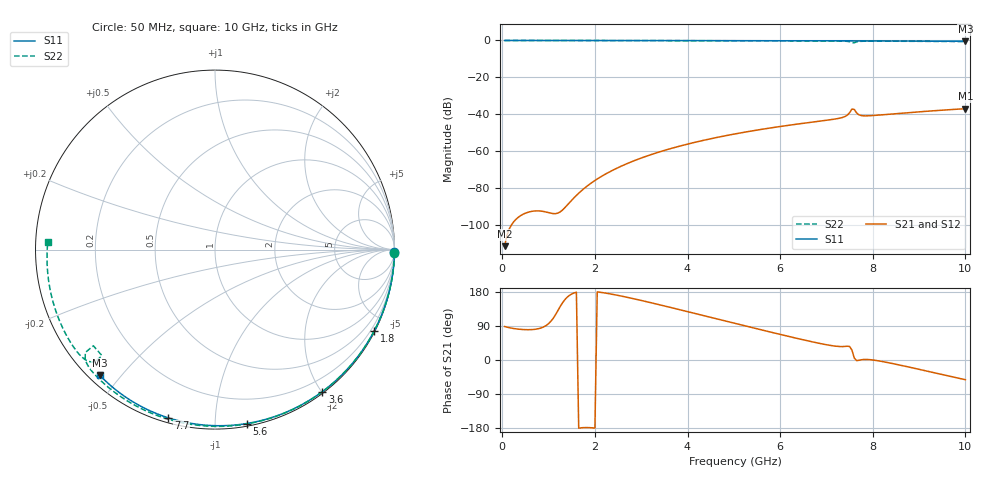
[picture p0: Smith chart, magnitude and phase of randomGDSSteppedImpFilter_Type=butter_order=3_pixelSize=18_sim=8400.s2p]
! freq	dB(S11)	phase(S11)	dB(S12)	phase(S12)
!  dB(S21)	phase(S21)	dB(S22)	phase(S22)
!S-par simulation data
#  GHz  S  DB  R 50
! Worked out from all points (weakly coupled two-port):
!   200 points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, 50 MHz to 10 GHz, reference 50 ohm
!   highest |S21| = -37.07 dB at 10 GHz (marker M1); lowest = -111.8 dB at 50 MHz (marker M2)
!   lowest |S11| = -0.4 dB at 10 GHz (marker M3), VSWR 38.93, Z = 1.53 - j22 ohm
!   |S11| at or under -10 dB: nowhere
!   |S22| runs from -1.3 to 0.0 dB; largest |S21 - S12| = 0
!   S11 on the Smith chart (normalised r, x): 50 MHz: open; 1.8 GHz: 0.04, -4.16; 3.6 GHz: 0.02, -2.01; 5.6 GHz: 0.02, -1.20; 7.7 GHz: 0.02, -0.76; 10 GHz: 0.03, -0.44
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0.05  -0.00 -0.8  -111.75 88.3  -111.75 88.3  -0.00 -1.0
0.85  -0.01 -12.9  -92.74 85.1  -92.74 85.1  -0.02 -17.3
1.75  -0.03 -26.3  -80.76 -178.5  -80.76 -178.5  -0.04 -35.2
1.8  -0.03 -27.0  -79.74 -178.3  -79.74 -178.3  -0.05 -36.2
2.1  -0.04 -31.4  -74.48 179.0  -74.48 179.0  -0.05 -42.1
2.45  -0.05 -36.5  -69.68 171.7  -69.68 171.7  -0.06 -48.8
2.9  -0.06 -43.0  -64.81 160.0  -64.81 160.0  -0.07 -57.4
3.4  -0.07 -50.1  -60.49 145.6  -60.49 145.6  -0.09 -66.8
3.6  -0.07 -52.9  -58.99 139.7  -58.99 139.7  -0.09 -70.5
4.3  -0.09 -62.5  -54.51 118.6  -54.51 118.6  -0.12 -83.1
5.05  -0.11 -72.5  -50.65 95.9  -50.65 95.9  -0.15 -96.3
5.6  -0.13 -79.6  -48.28 79.4  -48.28 79.4  -0.18 -105.9
6.7  -0.18 -93.5  -44.33 47.7  -44.33 47.7  -0.25 -124.8
7.35  -0.22 -101.4  -41.80 35.4  -41.80 35.4  -0.35 -137.1
7.45  -0.22 -102.6  -40.59 36.3  -40.59 36.3  -0.48 -139.8
7.55  -0.23 -103.7  -37.30 26.1  -37.30 26.1  -1.27 -141.7
7.6  -0.23 -104.3  -37.46 5.5  -37.46 5.5  -1.27 -136.8
7.7  -0.24 -105.5  -40.36 -0.8  -40.36 -0.8  -0.53 -138.5
7.85  -0.25 -107.3  -40.97 1.5  -40.97 1.5  -0.40 -142.3
8.35  -0.29 -113.2  -40.08 -7.4  -40.08 -7.4  -0.40 -151.9
9.2  -0.36 -123.1  -38.40 -30.1  -38.40 -30.1  -0.50 -167.4
10  -0.45 -132.4  -37.07 -52.1  -37.07 -52.1  -0.61 177.3
